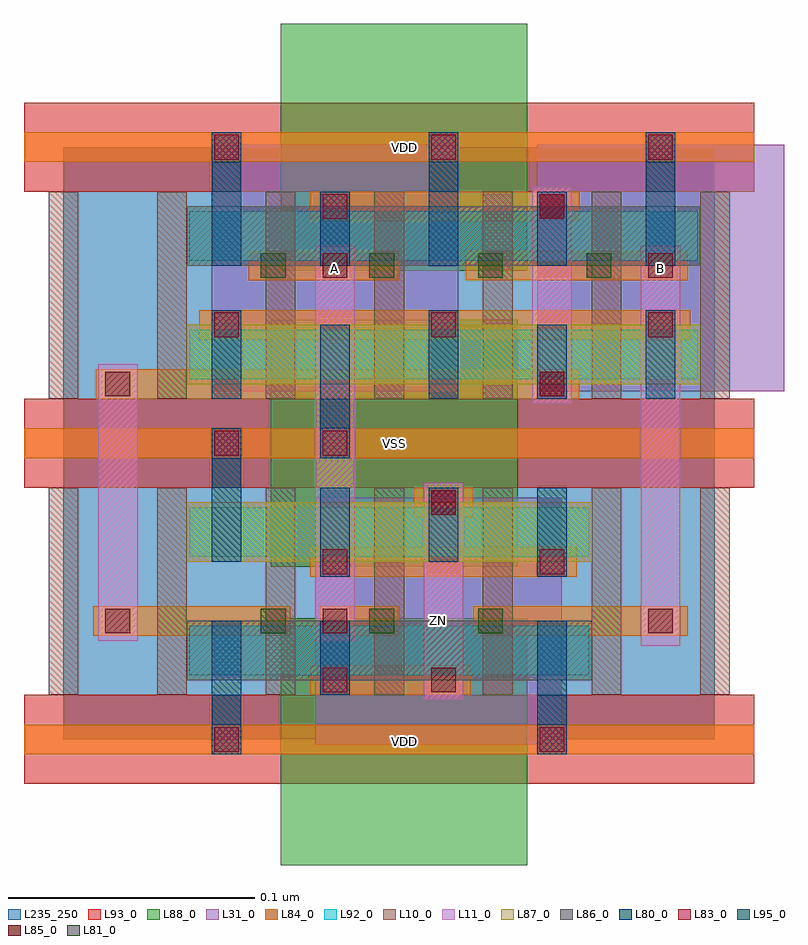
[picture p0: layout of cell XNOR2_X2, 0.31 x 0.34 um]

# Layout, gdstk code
import gdstk
lib = gdstk.Library(unit=1e-6, precision=1e-09)
def R(c, l, rs):  # rectangles x0, y0, x1, y1
    for r in rs: c.add(gdstk.rectangle(r[:2], r[2:], *l))
def A(c, l, x, y, w, h, nx, ny, dx, dy):  # array of equal rectangles
    R(c, l, [(x+i*dx, y+j*dy, x+i*dx+w, y+j*dy+h) for i in range(nx) for j in range(ny)])
L10_0 = (10, 0)
L11_0 = (11, 0)
L31_0 = (31, 0)
L80_0 = (80, 0)
L81_0 = (81, 0)
L83_0 = (83, 0)
L84_0 = (84, 0)
L85_0 = (85, 0)
L86_0 = (86, 0)
L87_0 = (87, 0)
L88_0 = (88, 0)
L92_0 = (92, 0)
L93_0 = (93, 0)
L95_0 = (95, 0)
L235_250 = (235, 250)

xnor2_x2 = lib.new_cell('XNOR2_X2')
A(xnor2_x2, L10_0, -0.006, 0.018, 0.012, 0.084, 7, 2, 0.044, 0.12)
R(xnor2_x2, L11_0, [(0.146,0.016,0.162,0.104), (0.234,0.038,0.25,0.2), (0.014,0.04,0.03,0.152), (0.102,0.04,0.118,0.2), (0.19,0.136,0.206,0.224)])
R(xnor2_x2, L31_0, [(0.102,-0.002,0.202,0.098), (0.06,0.141,0.16,0.241), (0.192,0.141,0.292,0.241)])
A(xnor2_x2, L80_0, 0.06, 0.138, 0.012, 0.036, 3, 1, 0.088, 0)
A(xnor2_x2, L80_0, 0.06, 0.192, 0.012, 0.054, 3, 1, 0.088, 0)
R(xnor2_x2, L80_0, [(0.06,-0.006,0.072,0.048), (0.192,-0.006,0.204,0.048), (0.104,0.018,0.116,0.048), (0.104,0.066,0.116,0.102), (0.192,0.066,0.204,0.102), (0.06,0.072,0.072,0.126), (0.148,0.072,0.16,0.102), (0.104,0.114,0.116,0.168), (0.192,0.138,0.204,0.168), (0.104,0.192,0.116,0.222), (0.192,0.192,0.204,0.222)])
A(xnor2_x2, L81_0, 0.08, 0.043, 0.01, 0.01, 3, 1, 0.044, 0)
A(xnor2_x2, L81_0, 0.08, 0.187, 0.01, 0.01, 4, 1, 0.044, 0)
A(xnor2_x2, L83_0, 0.193, -0.005, 0.01, 0.01, 1, 4, 0, 0.072)
A(xnor2_x2, L83_0, 0.105, 0.019, 0.01, 0.01, 1, 3, 0, 0.048)
A(xnor2_x2, L83_0, 0.061, 0.163, 0.01, 0.01, 3, 2, 0.088, 0.072)
R(xnor2_x2, L83_0, [(0.061,-0.005,0.071,0.005), (0.149,0.091,0.159,0.101), (0.061,0.115,0.071,0.125), (0.105,0.211,0.115,0.221)])
A(xnor2_x2, L84_0, -0.016, -0.006, 0.296, 0.012, 1, 3, 0, 0.12)
R(xnor2_x2, L84_0, [(0.1,0.018,0.165,0.03), (0.012,0.042,0.092,0.054), (0.104,0.042,0.136,0.054), (0.166,0.042,0.253,0.054), (0.1,0.066,0.208,0.078), (0.142,0.09,0.166,0.102), (0.013,0.138,0.209,0.15), (0.055,0.162,0.254,0.174), (0.075,0.186,0.136,0.198), (0.163,0.186,0.253,0.198), (0.1,0.21,0.209,0.222)])
R(xnor2_x2, L85_0, [(0.149,0.019,0.159,0.029), (0.017,0.043,0.027,0.053), (0.105,0.043,0.115,0.053), (0.237,0.043,0.247,0.053), (0.149,0.091,0.159,0.101), (0.017,0.139,0.027,0.149), (0.193,0.139,0.203,0.149), (0.105,0.187,0.115,0.197), (0.237,0.187,0.247,0.197), (0.193,0.211,0.203,0.221)])
R(xnor2_x2, L86_0, [(0.05,0.024,0.214,0.048), (0.05,0.192,0.258,0.216)])
R(xnor2_x2, L87_0, [(0.05,0.072,0.214,0.096), (0.05,0.144,0.258,0.168)])
R(xnor2_x2, L88_0, [(0.088,-0.051,0.188,0.049), (0.084,0.07,0.184,0.17), (0.088,0.19,0.188,0.29)])
R(xnor2_x2, L92_0, [(0.051,0.026,0.213,0.046), (0.051,0.074,0.213,0.094), (0.051,0.146,0.257,0.166), (0.051,0.194,0.257,0.214)])
A(xnor2_x2, L93_0, -0.016, -0.018, 0.296, 0.036, 1, 3, 0, 0.12)
A(xnor2_x2, L95_0, 0.06, 0.222, 0.012, 0.012, 3, 1, 0.088, 0)
R(xnor2_x2, L95_0, [(0.06,0.006,0.072,0.018), (0.192,0.006,0.204,0.018), (0.06,0.102,0.072,0.114), (0.104,0.126,0.116,0.138)])
R(xnor2_x2, L235_250, [(0,0,0.264,0.24)])
xnor2_x2.add(gdstk.Label('VSS', (0.134,0.12), layer=88, texttype=0))
xnor2_x2.add(gdstk.Label('VDD', (0.138,-0.001), layer=88, texttype=0))
xnor2_x2.add(gdstk.Label('VDD', (0.138,0.24), layer=88, texttype=0))
xnor2_x2.add(gdstk.Label('A', (0.11,0.191), layer=31, texttype=0))
xnor2_x2.add(gdstk.Label('ZN', (0.152,0.048), layer=31, texttype=0))
xnor2_x2.add(gdstk.Label('B', (0.242,0.191), layer=31, texttype=0))

lib.write_gds('XNOR2_X2.gds')
